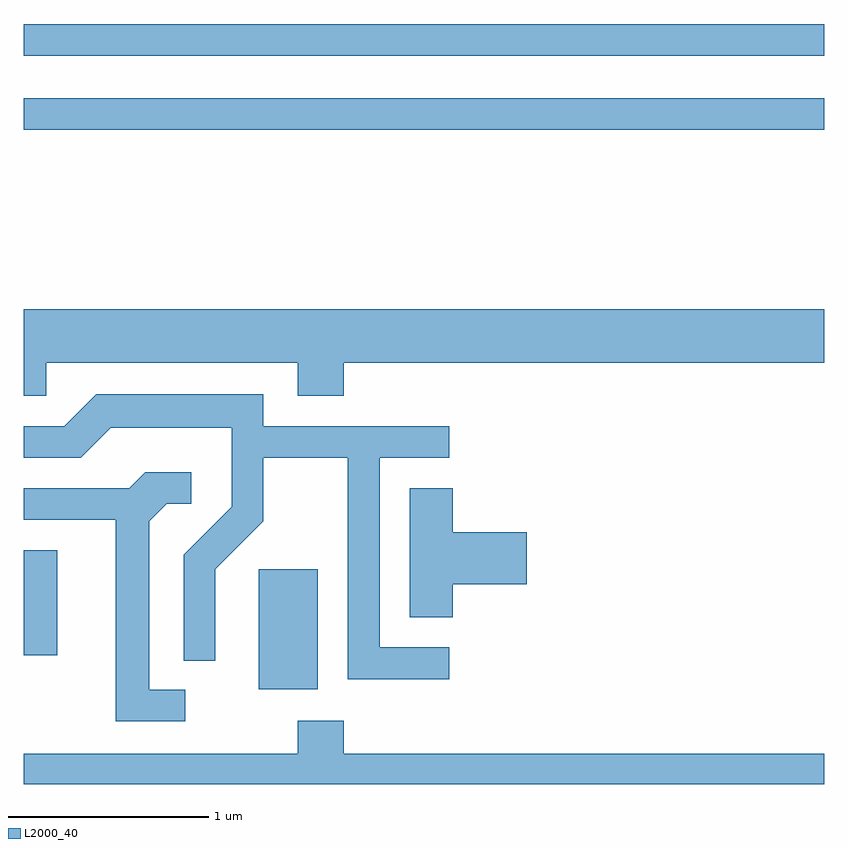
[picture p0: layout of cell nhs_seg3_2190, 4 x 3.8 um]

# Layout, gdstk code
import gdstk
lib = gdstk.Library(unit=1e-6, precision=1e-09)
def R(c, l, rs):  # rectangles x0, y0, x1, y1
    for r in rs: c.add(gdstk.rectangle(r[:2], r[2:], *l))
def P(c, l, *ps):  # polygons
    for p in ps: c.add(gdstk.Polygon(p, *l))
L2000_40 = (2000, 40)

nhs_seg3_2190 = lib.new_cell('nhs_seg3_2190')
R(nhs_seg3_2190, L2000_40, [(250.786,1144.366,251.079,1144.964), (249.611,1144.536,249.779,1145.059), (249.611,1147.161,253.611,1147.319), (249.611,1147.531,253.611,1147.689)])
P(nhs_seg3_2190, L2000_40, [(249.724,1145.996),(250.981,1145.996),(250.981,1145.831),(251.209,1145.831),(251.209,1145.996),(253.611,1145.996),(253.611,1146.264),(249.611,1146.264),(249.611,1145.831),(249.724,1145.831)],
  [(251.738,1144.574),(251.389,1144.574),(251.389,1145.521),(251.738,1145.521),(251.738,1145.679),(250.809,1145.679),(250.809,1145.839),(249.974,1145.839),(249.814,1145.679),(249.611,1145.679),(249.611,1145.521),(249.897,1145.521),(250.047,1145.671),(250.651,1145.671),(250.651,1145.277),(250.411,1145.037),(250.411,1144.508),(250.569,1144.508),(250.569,1144.964),(250.809,1145.204),(250.809,1145.521),(251.231,1145.521),(251.231,1144.416),(251.738,1144.416)],
  [(250.418,1144.364),(250.239,1144.364),(250.239,1145.204),(250.327,1145.291),(250.448,1145.291),(250.448,1145.449),(250.219,1145.449),(250.139,1145.369),(249.611,1145.369),(249.611,1145.211),(250.071,1145.211),(250.071,1144.206),(250.418,1144.206)],
  [(251.754,1144.891),(252.124,1144.891),(252.124,1145.149),(251.754,1145.149),(251.754,1145.369),(251.541,1145.369),(251.541,1144.726),(251.754,1144.726)],
  [(253.611,1144.044),(251.209,1144.044),(251.209,1144.209),(250.981,1144.209),(250.981,1144.044),(249.611,1144.044),(249.611,1143.892),(253.611,1143.892)])

lib.write_gds('nhs_seg3_2190.gds')
